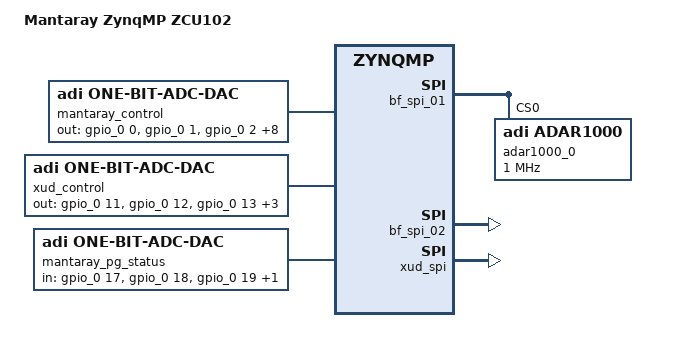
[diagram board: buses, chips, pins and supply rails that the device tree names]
// SPDX-License-Identifier: GPL-2.0
/*
 * Analog Devices Stingray
 * https://wiki.analog.com/resources/eval/user-guides/quadmxfe/quick-start
 * https://wiki.analog.com/resources/tools-software/linux-drivers/iio-mxfe/ad9081
 *
 * hdl_project: <>
 * board_revision: <>
 *
 * Copyright (C) 2019-2020 Analog Devices Inc.
 */

#include "zynqmp-zcu102-rev1.0.dts"
#include <dt-bindings/iio/frequency/hmc7044.h>

/ {
	model = "Mantaray ZynqMP ZCU102";

        fpga_axi: fpga-axi@0 {
		 #address-cells = <2>;
                #size-cells = <2>;
                compatible = "simple-bus";
                ranges ;

                axi_sysid_0: axi_sysid@85000000 {
                        clock-names = "s_axi_aclk";
                        clocks = <&zynqmp_clk 71>;
                        compatible = "xlnx,axi-sysid-1.0";
                        reg = <0x0 0x85000000 0x0 0x10000>;
                };

                bf_spi_01: spi@80000000 {
			#address-cells = <1>;
			#size-cells = <0>;
                        bits-per-word = <8>;
                        clock-names = "ext_spi_clk", "s_axi_aclk";
                        clocks = <&zynqmp_clk 74>, <&zynqmp_clk 71>;
                        compatible = "xlnx,axi-quad-spi-3.2", "xlnx,xps-spi-2.00.a";
                        fifo-size = <16>;
                        interrupt-names = "ip2intc_irpt";
                        interrupt-parent = <&gic>;
                        interrupts = <0 89 1>;
                        num-cs = <0x4>;
                        reg = <0x0 0x80000000 0x0 0x1000>;
                        xlnx,num-ss-bits = <0x4>;
                        xlnx,spi-mode = <0>;

			//first tile on the first controller
			adar1000_0@0 {
				compatible = "adi,adar1000";
				reg = <0>;
				spi-max-frequency = <1000000>;
	
				#address-cells = <1>;
				#size-cells = <0>;
	
				adar1000_csb_0_1@0 {
					reg = <0>;
					label = "adar1000_csb_0_1";
				};
	
				adar1000_csb_0_2@1 {
					reg = <1>;
					label = "adar1000_csb_0_2";
				};
	
				adar1000_csb_0_3@2 {
					reg = <2>;
					label = "adar1000_csb_0_3";
				};
	
				adar1000_csb_0_4@3 {
					reg = <3>;
					label = "adar1000_csb_0_4";
				};
			};

			//second tile on the first controller
			// adar1000_1@1 {
			// 	compatible = "adi,adar1000";
			// 	reg = <1>;
			// 	spi-max-frequency = <1000000>;
	
			// 	#address-cells = <1>;
			// 	#size-cells = <0>;
	
			// 	adar1000_csb_1_1@0 {
			// 		reg = <0>;
			// 		label = "adar1000_csb_1_1";
			// 	};
	
			// 	adar1000_csb_1_2@1 {
			// 		reg = <1>;
			// 		label = "adar1000_csb_1_2";
			// 	};
	
			// 	adar1000_csb_1_3@2 {
			// 		reg = <2>;
			// 		label = "adar1000_csb_1_3";
			// 	};
	
			// 	adar1000_csb_1_4@3 {
			// 		reg = <3>;
			// 		label = "adar1000_csb_1_4";
			// 	};
			// };
                };

                bf_spi_02: spi@80010000 {
			#address-cells = <1>;
			#size-cells = <0>;
                        bits-per-word = <8>;
                        clock-names = "ext_spi_clk", "s_axi_aclk";
                        clocks = <&zynqmp_clk 74>, <&zynqmp_clk 71>;
                        compatible = "xlnx,axi-quad-spi-3.2", "xlnx,xps-spi-2.00.a";
                        fifo-size = <16>;
                        interrupt-names = "ip2intc_irpt";
                        interrupt-parent = <&gic>;
                        interrupts = <0 90 1>;
                        num-cs = <0x4>;
                        reg = <0x0 0x80010000 0x0 0x1000>;
                        xlnx,num-ss-bits = <0x4>;
                        xlnx,spi-mode = <0>;
			//first tile second controller
			// adar1000_1@0 {
			// 	compatible = "adi,adar1000";
			// 	reg = <0>;
			// 	spi-max-frequency = <1000000>;
	
			// 	#address-cells = <1>;
			// 	#size-cells = <0>;
	
			// 	adar1000_csb_1_1@0 {
			// 		reg = <0>;
			// 		label = "adar1000_csb_1_1";
			// 	};
	
			// 	adar1000_csb_1_2@1 {
			// 		reg = <1>;
			// 		label = "adar1000_csb_1_2";
			// 	};
	
			// 	adar1000_csb_1_3@2 {
			// 		reg = <2>;
			// 		label = "adar1000_csb_1_3";
			// 	};
	
			// 	adar1000_csb_1_4@3 {
			// 		reg = <3>;
			// 		label = "adar1000_csb_1_4";
			// 	};
			// };

			//second tile second controller
			// adar1000_2@1 {
			// 	compatible = "adi,adar1000";
			// 	reg = <1>;
			// 	spi-max-frequency = <1000000>;
	
			// 	#address-cells = <1>;
			// 	#size-cells = <0>;
	
			// 	adar1000_csb_2_1@0 {
			// 		reg = <0>;
			// 		label = "adar1000_csb_2_1";
			// 	};
	
			// 	adar1000_csb_2_2@1 {
			// 		reg = <1>;
			// 		label = "adar1000_csb_2_2";
			// 	};
	
			// 	adar1000_csb_2_3@2 {
			// 		reg = <2>;
			// 		label = "adar1000_csb_2_3";
			// 	};
	
			// 	adar1000_csb_2_4@3 {
			// 		reg = <3>;
			// 		label = "adar1000_csb_2_4";
			// 	};
			// };

                };
		
                gpio_0: gpio@80090000 {
                        #gpio-cells = <2>;
                        clock-names = "s_axi_aclk";
                        clocks = <&zynqmp_clk 71>;
                        compatible = "xlnx,axi-gpio-2.0", "xlnx,xps-gpio-1.00.a";
                        gpio-controller;
                        reg = <0x0 0x80090000 0x0 0x1000>;
                        xlnx,all-inputs = <0x0>;
                        xlnx,all-inputs-2 = <0x1>;
                        xlnx,all-outputs = <0x1>;
                        xlnx,all-outputs-2 = <0x0>;
                        xlnx,dout-default = <0x00000000>;
                        xlnx,dout-default-2 = <0x00000000>;
                        xlnx,gpio-width = <0x16>;
                        xlnx,gpio2-width = <0x4>;
                        xlnx,interrupt-present = <0x0>;
                        xlnx,is-dual = <0x1>;
                        xlnx,tri-default = <0xFFFFFFFF>;
                        xlnx,tri-default-2 = <0xFFFFFFFF>;
                };
                xud_spi: spi@80080000 {
                        bits-per-word = <8>;
                        clock-names = "ext_spi_clk", "s_axi_aclk";
                        clocks = <&zynqmp_clk 74>, <&zynqmp_clk 71>;
                        compatible = "xlnx,axi-quad-spi-3.2", "xlnx,xps-spi-2.00.a";
                        fifo-size = <16>;
                        interrupt-names = "ip2intc_irpt";
                        interrupt-parent = <&gic>;
                        interrupts = <0 97 1>;
                        num-cs = <0x1>;
                        reg = <0x0 0x80080000 0x0 0x1000>;
                        xlnx,num-ss-bits = <0x1>;
                        xlnx,spi-mode = <0>;
                };
	};

        mantaray_control@0 {

		compatible = "adi,one-bit-adc-dac";
		#address-cells = <1>;
		#size-cells = <0>;

		out-gpios = <&gpio_0 0 0>, <&gpio_0 1 0>, <&gpio_0 2 0>,
			    <&gpio_0 3 0>, <&gpio_0 4 0>, <&gpio_0 5 0>,
			    <&gpio_0 6 0>, <&gpio_0 7 0>, <&gpio_0 8 0>,
			    <&gpio_0 9 0>, <&gpio_0 10 0>;
		label = "mantaray_control";

		channel@0 {
			reg = <0>;
			label = "BF_TR";
		};

		channel@1 {
			reg = <1>;
			label = "BF_TX_LOAD";
		};

		channel@2 {
			reg = <2>;
			label = "BF_RX_LOAD";
		};

		channel@3 {
			reg = <3>;
			label = "BF_PWR_EN_01";
		};

		channel@4 {
			reg = <4>;
			label = "BF_PA_ON_01";
		};

		channel@5 {
			reg = <5>;
			label = "BF_PWR_EN_02";
		};

		channel@6 {
			reg = <6>;
			label = "BF_PA_ON_02";
		};

		channel@7 {
			reg = <7>;
			label = "BF_PWR_EN_03";
		};

		channel@8 {
			reg = <8>;
			label = "BF_PA_ON_03";
		};

		channel@9 {
			reg = <9>;
			label = "BF_PWR_EN_04";
		};

		channel@10 {
			reg = <10>;
			label = "BF_PA_ON_04";
		};
	};

	xud_control@1 {
		compatible = "adi,one-bit-adc-dac";
		#address-cells = <1>;
		#size-cells = <0>;

		out-gpios = <&gpio_0 11 0>, <&gpio_0 12 0>, <&gpio_0 13 0>,
			    <&gpio_0 14 0>, <&gpio_0 15 0>, <&gpio_0 16 0>;
		label = "xud_control";

		channel@0 {
			reg = <0>;
			label = "XUD_RX_GAIN_MODE";
		};

		channel@1 {
			reg = <1>;
			label = "XUD_PLL_OUTPUT_SEL";
		};
		channel@2 {
			reg = <2>;
			label = "XUD_TXRX0";
		};

		channel@3 {
			reg = <3>;
			label = "XUD_TXRX1";
		};

		channel@4 {
			reg = <4>;
			label = "XUD_TXRX2";
		};

		channel@5 {
			reg = <5>;
			label = "XUD_TXRX3";
		};
	};

	mantaray_pg_status@2 {
		compatible = "adi,one-bit-adc-dac";
		#address-cells = <1>;
		#size-cells = <0>;

		in-gpios = <&gpio_0 17 0>, <&gpio_0 18 0>,
			   <&gpio_0 19 0>, <&gpio_0 20 0>;
		label = "mantaray_pg_status";

		channel@0 {
			reg = <0>;
			label = "PG_PA_VGG_01";
		};

		channel@1 {
			reg = <1>;
			label = "PG_PA_VGG_02";
		};

		channel@2 {
			reg = <2>;
			label = "PG_PA_VGG_03";
		};

		channel@3 {
			reg = <3>;
			label = "PG_PA_VGG_04";
		};
	};
};
